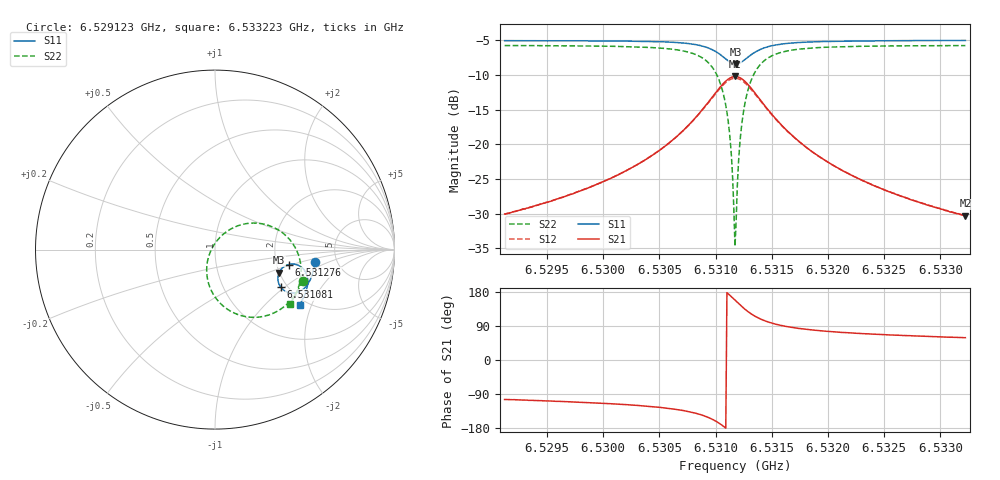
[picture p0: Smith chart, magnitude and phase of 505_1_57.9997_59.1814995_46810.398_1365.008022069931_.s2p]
#  HZ  S  RI  R  50.00
! Rohde & Schwarz Vector Network Analyzer
! Rohde-Schwarz,ZNB20-2Port,1311601062101988,3.16
! Created: UTC 3/21/2024, 1:12:56 AM
! freq[Hz]  re:S11  im:S11  re:S21  im:S21  re:S12  im:S12  re:S22  im:S22
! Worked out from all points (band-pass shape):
!   401 points, 6.529123 GHz to 6.533223 GHz, reference 50 ohm
!   highest |S21| = -10.19 dB at 6.531173 GHz (marker M1); lowest = -30.3 dB at 6.533223 GHz (marker M2)
!   |S21| within 3 dB of the highest: 6.53097 GHz to 6.53138 GHz (409.9 kHz wide, 0.00628 % of centre)
!   lowest |S11| = -8.4 dB at 6.531183 GHz (marker M3), VSWR 2.22, Z = 99.4 - j30 ohm
!   |S11| at or under -10 dB: nowhere
!   |S22| runs from -34.7 to -5.7 dB; largest |S21 - S12| = 0.012
!   S11 on the Smith chart (normalised r, x): 6.529123 GHz: 3.41, -0.68; 6.531081 GHz: 1.85, -0.93; 6.531276 GHz: 2.32, -0.47; 6.533223 GHz: 1.82, -1.64
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6.5291234e9  0.5567 -0.0683  -0.00769 -0.0304  -0.00822 -0.0302  0.4877 -0.1723
6.52981e9  0.5455 -0.1252  -0.0172 -0.0431  -0.0182 -0.0429  0.4564 -0.2361
6.5304967e9  0.5163 -0.1934  -0.0515 -0.074  -0.0534 -0.0726  0.3744 -0.3259
6.5307324e9  0.489 -0.2229  -0.0916 -0.0931  -0.0942 -0.09  0.293 -0.3663
6.5309066e9  0.4447 -0.2416  -0.1599 -0.099  -0.1623 -0.0926  0.1664 -0.3725
6.5310091e9  0.3999 -0.2356  -0.2296 -0.0721  -0.2287 -0.0628  0.0482 -0.3166
6.5310809e9  0.3651 -0.2076  -0.2808 -0.0129  -0.2749 -0.00316  -0.029 -0.2087
6.5311218e9  0.3524 -0.1794  -0.2965 0.0403  -0.2875 0.0483  -0.0465 -0.1177
6.5311628e9  0.3516 -0.1457  -0.2915 0.1012  -0.2807 0.1055  -0.0283 -0.0185
6.5311731e9  0.3538 -0.1373  -0.2866 0.1161  -0.2755 0.1194  -0.0176 0.00526
6.5311833e9  0.3568 -0.1291  -0.2798 0.1305  -0.269 0.1329  -0.00475 0.0277
6.5311936e9  0.3606 -0.1213  -0.2721 0.144  -0.2612 0.1454  0.0103 0.0488
6.5312141e9  0.3704 -0.1075  -0.2527 0.1682  -0.2426 0.1679  0.0457 0.0855
6.5312243e9  0.3763 -0.1014  -0.2418 0.1784  -0.2321 0.1775  0.0656 0.1006
6.5312448e9  0.3893 -0.092  -0.218 0.1952  -0.2094 0.1931  0.1073 0.1244
6.5312756e9  0.4099 -0.0831  -0.1807 0.2108  -0.1739 0.2075  0.1715 0.1443
6.5313473e9  0.4534 -0.0836  -0.1044 0.2124  -0.1011 0.2092  0.2997 0.1344
6.5314498e9  0.491 -0.1063  -0.0391 0.1806  -0.0375 0.1789  0.4064 0.0665
6.5316035e9  0.5122 -0.1432  0.000155 0.1333  0.00115 0.1326  0.4649 -0.0295
6.5318597e9  0.5168 -0.1868  0.0166 0.0868  0.0174 0.0866  0.4797 -0.1277
6.5325464e9  0.4974 -0.2577  0.0184 0.0415  0.019 0.0413  0.4515 -0.2447
6.5332228e9  0.4708 -0.3082  0.0157 0.0262  0.0164 0.0258  0.4169 -0.3052
